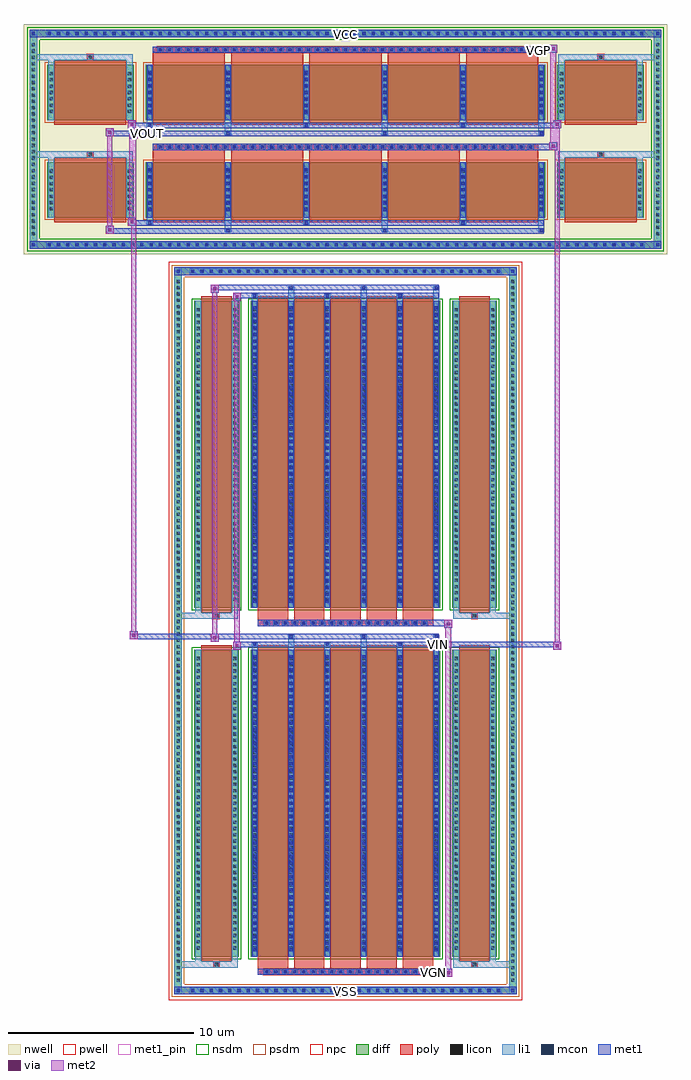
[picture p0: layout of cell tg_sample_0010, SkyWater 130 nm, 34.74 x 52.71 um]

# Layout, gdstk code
import gdstk
lib = gdstk.Library(unit=1e-6, precision=5e-09)
def R(c, l, rs):  # rectangles x0, y0, x1, y1
    for r in rs: c.add(gdstk.rectangle(r[:2], r[2:], *l))
def A(c, l, x, y, w, h, nx, ny, dx, dy):  # array of equal rectangles
    R(c, l, [(x+i*dx, y+j*dy, x+i*dx+w, y+j*dy+h) for i in range(nx) for j in range(ny)])
def P(c, l, *ps):  # polygons
    for p in ps: c.add(gdstk.Polygon(p, *l))
nwell = (64, 20)
pwell = (64, 44)
diff = (65, 20)
poly = (66, 20)
licon = (66, 44)
li1 = (67, 20)
mcon = (67, 44)
met1_pin = (68, 16)
met1 = (68, 20)
via = (68, 44)
met2 = (69, 20)
nsdm = (93, 44)
psdm = (94, 20)
npc = (95, 20)

tg_sample_0010 = lib.new_cell('tg_sample_0010')
R(tg_sample_0010, nwell, [(-17.37,20.335,17.37,32.775)])
R(tg_sample_0010, pwell, [(-9.555,-19.935,9.555,19.935)])
A(tg_sample_0010, diff, -8.455, -19.625, 0.41, 0.41, 34, 2, 0.5, 38.84)
A(tg_sample_0010, diff, -9.245, -19.075, 0.41, 0.41, 1, 112, 0, 0.34)
A(tg_sample_0010, diff, 8.835, -19.075, 0.41, 0.41, 1, 112, 0, 0.34)
A(tg_sample_0010, diff, -16.205, 20.645, 0.41, 0.41, 65, 2, 0.5, 11.41)
A(tg_sample_0010, diff, -17.06, 21.25, 0.41, 0.41, 1, 31, 0, 0.34)
A(tg_sample_0010, diff, 16.65, 21.25, 0.41, 0.41, 1, 31, 0, 0.34)
R(tg_sample_0010, diff, [(-8.455,-19.625,8.455,-19.215), (-9.245,-19.075,-8.835,19.075), (8.835,-19.075,9.245,19.075), (-8.175,-17.6,-5.765,-1.02), (-5.125,-17.6,5.125,-1.02), (5.765,-17.6,8.175,-1.02), (-8.175,1.24,-5.765,17.82), (-5.125,1.24,5.125,17.82), (5.765,1.24,8.175,17.82), (-8.455,19.215,8.455,19.625), (-16.205,20.645,16.205,21.055), (-17.06,21.25,-16.65,31.86), (16.65,21.25,17.06,31.86), (-16.12,22.32,-11.44,25.31), (-10.8,22.32,10.8,25.31), (11.44,22.32,16.12,25.31), (-16.12,27.58,-11.44,30.57), (-10.8,27.58,10.8,30.57), (11.44,27.58,16.12,30.57), (-16.205,32.055,16.205,32.465)])
P(tg_sample_0010, diff, [(9.245,19.625),(-9.245,19.625),(-9.245,-19.215),(-8.835,-19.215),(-8.835,19.215),(8.835,19.215),(8.835,-19.215),(-8.835,-19.215),(-9.245,-19.215),(-9.245,-19.625),(9.245,-19.625)],
  [(17.06,20.645),(-17.06,20.645),(-17.06,32.055),(-16.65,32.055),(-16.65,21.055),(16.65,21.055),(16.65,32.055),(-16.65,32.055),(-17.06,32.055),(-17.06,32.465),(17.06,32.465)])
A(tg_sample_0010, poly, -4.415, -18.58, 0.33, 0.33, 18, 2, 0.5, 18.84)
A(tg_sample_0010, poly, -4.735, -18.25, 1.63, 0.4, 5, 2, 1.96, 18.84)
A(tg_sample_0010, poly, -4.735, -17.85, 1.63, 17.08, 5, 2, 1.96, 18.84)
A(tg_sample_0010, poly, -10.41, 22.07, 3.9, 3.49, 5, 2, 4.23, 5.26)
A(tg_sample_0010, poly, -10.41, 25.56, 3.9, 0.405, 5, 2, 4.23, 5.26)
A(tg_sample_0010, poly, -10.165, 25.965, 0.33, 0.33, 41, 2, 0.5, 5.26)
R(tg_sample_0010, poly, [(-4.735,-18.58,4.735,-18.25), (-7.135,-18.18,-6.805,-17.85), (-7.135,-18.18,-6.805,-17.85), (6.805,-18.18,7.135,-17.85), (6.805,-18.18,7.135,-17.85), (-7.785,-17.85,-6.155,-0.77), (6.155,-17.85,7.785,-0.77), (-4.735,0.26,4.735,0.59), (-7.135,0.66,-6.805,0.99), (-7.135,0.66,-6.805,0.99), (6.805,0.66,7.135,0.99), (6.805,0.66,7.135,0.99), (-7.785,0.99,-6.155,18.07), (6.155,0.99,7.785,18.07), (-15.73,22.07,-11.83,25.56), (11.83,22.07,15.73,25.56), (-13.945,25.56,-13.615,25.89), (-13.945,25.56,-13.615,25.89), (13.615,25.56,13.945,25.89), (13.615,25.56,13.945,25.89), (-10.41,25.965,10.41,26.295), (-15.73,27.33,-11.83,30.82), (11.83,27.33,15.73,30.82), (-13.945,30.82,-13.615,31.15), (-13.945,30.82,-13.615,31.15), (13.615,30.82,13.945,31.15), (13.615,30.82,13.945,31.15), (-10.41,31.225,10.41,31.555)])
A(tg_sample_0010, licon, -8.335, -19.505, 0.17, 0.17, 34, 2, 0.5, 38.84)
A(tg_sample_0010, licon, -9.125, -18.955, 0.17, 0.17, 1, 112, 0, 0.34)
A(tg_sample_0010, licon, 8.955, -18.955, 0.17, 0.17, 1, 112, 0, 0.34)
A(tg_sample_0010, licon, -4.335, -18.5, 0.17, 0.17, 18, 2, 0.5, 18.84)
A(tg_sample_0010, licon, -8.035, -17.215, 0.17, 0.17, 1, 47, 0, 0.34)
A(tg_sample_0010, licon, -6.075, -17.215, 0.17, 0.17, 1, 47, 0, 0.34)
A(tg_sample_0010, licon, -4.985, -17.215, 0.17, 0.17, 6, 47, 1.96, 0.34)
A(tg_sample_0010, licon, 5.905, -17.215, 0.17, 0.17, 1, 47, 0, 0.34)
A(tg_sample_0010, licon, 7.865, -17.215, 0.17, 0.17, 1, 47, 0, 0.34)
A(tg_sample_0010, licon, -8.035, 1.625, 0.17, 0.17, 1, 47, 0, 0.34)
A(tg_sample_0010, licon, -6.075, 1.625, 0.17, 0.17, 1, 47, 0, 0.34)
A(tg_sample_0010, licon, -4.985, 1.625, 0.17, 0.17, 6, 47, 1.96, 0.34)
A(tg_sample_0010, licon, 5.905, 1.625, 0.17, 0.17, 1, 47, 0, 0.34)
A(tg_sample_0010, licon, 7.865, 1.625, 0.17, 0.17, 1, 47, 0, 0.34)
A(tg_sample_0010, licon, -16.085, 20.765, 0.17, 0.17, 65, 2, 0.5, 11.41)
A(tg_sample_0010, licon, -16.94, 21.37, 0.17, 0.17, 1, 31, 0, 0.34)
A(tg_sample_0010, licon, 16.77, 21.37, 0.17, 0.17, 1, 31, 0, 0.34)
A(tg_sample_0010, licon, -15.98, 22.71, 0.17, 0.17, 1, 7, 0, 0.34)
A(tg_sample_0010, licon, -11.75, 22.71, 0.17, 0.17, 1, 7, 0, 0.34)
A(tg_sample_0010, licon, -10.66, 22.71, 0.17, 0.17, 6, 7, 4.23, 0.34)
A(tg_sample_0010, licon, 11.58, 22.71, 0.17, 0.17, 1, 7, 0, 0.34)
A(tg_sample_0010, licon, 15.81, 22.71, 0.17, 0.17, 1, 7, 0, 0.34)
A(tg_sample_0010, licon, -10.085, 26.045, 0.17, 0.17, 41, 2, 0.5, 5.26)
A(tg_sample_0010, licon, -15.98, 27.97, 0.17, 0.17, 1, 7, 0, 0.34)
A(tg_sample_0010, licon, -11.75, 27.97, 0.17, 0.17, 1, 7, 0, 0.34)
A(tg_sample_0010, licon, -10.66, 27.97, 0.17, 0.17, 6, 7, 4.23, 0.34)
A(tg_sample_0010, licon, 11.58, 27.97, 0.17, 0.17, 1, 7, 0, 0.34)
A(tg_sample_0010, licon, 15.81, 27.97, 0.17, 0.17, 1, 7, 0, 0.34)
R(tg_sample_0010, licon, [(-7.055,-18.1,-6.885,-17.93), (6.885,-18.1,7.055,-17.93), (-7.055,0.74,-6.885,0.91), (6.885,0.74,7.055,0.91), (-13.865,25.64,-13.695,25.81), (13.695,25.64,13.865,25.81), (-13.865,30.9,-13.695,31.07), (13.695,30.9,13.865,31.07)])
A(tg_sample_0010, li1, -8.415, -19.585, 0.33, 0.33, 34, 2, 0.5, 38.84)
A(tg_sample_0010, li1, -9.205, -19.035, 0.33, 0.33, 1, 112, 0, 0.34)
A(tg_sample_0010, li1, 8.875, -19.035, 0.33, 0.33, 1, 112, 0, 0.34)
A(tg_sample_0010, li1, -4.415, -18.58, 0.33, 0.33, 18, 2, 0.5, 18.84)
A(tg_sample_0010, li1, -5.065, -17.6, 0.33, 16.58, 6, 2, 1.96, 18.84)
A(tg_sample_0010, li1, -4.985, -17.315, 0.17, 0.17, 6, 45, 1.96, 0.36)
A(tg_sample_0010, li1, -4.985, -17.315, 0.17, 16.01, 6, 2, 1.96, 18.84)
A(tg_sample_0010, li1, -8.115, -17.295, 0.33, 0.33, 1, 47, 0, 0.34)
A(tg_sample_0010, li1, -6.155, -17.295, 0.33, 0.33, 1, 47, 0, 0.34)
A(tg_sample_0010, li1, -5.065, -17.295, 0.33, 0.33, 6, 47, 1.96, 0.34)
A(tg_sample_0010, li1, 5.825, -17.295, 0.33, 0.33, 1, 47, 0, 0.34)
A(tg_sample_0010, li1, 7.785, -17.295, 0.33, 0.33, 1, 47, 0, 0.34)
A(tg_sample_0010, li1, -5.065, -1.02, 0.33, 0.375, 3, 2, 3.92, 18.84)
A(tg_sample_0010, li1, -3.105, -1.02, 0.33, 0.805, 3, 2, 3.92, 18.84)
A(tg_sample_0010, li1, -4.985, -0.815, 0.17, 0.17, 3, 2, 3.92, 18.84)
A(tg_sample_0010, li1, -3.025, -0.385, 0.17, 0.17, 3, 2, 3.92, 18.84)
A(tg_sample_0010, li1, -4.985, 1.525, 0.17, 0.17, 6, 45, 1.96, 0.36)
A(tg_sample_0010, li1, -8.115, 1.545, 0.33, 0.33, 1, 47, 0, 0.34)
A(tg_sample_0010, li1, -6.155, 1.545, 0.33, 0.33, 1, 47, 0, 0.34)
A(tg_sample_0010, li1, -5.065, 1.545, 0.33, 0.33, 6, 47, 1.96, 0.34)
A(tg_sample_0010, li1, 5.825, 1.545, 0.33, 0.33, 1, 47, 0, 0.34)
A(tg_sample_0010, li1, 7.785, 1.545, 0.33, 0.33, 1, 47, 0, 0.34)
A(tg_sample_0010, li1, -16.165, 20.685, 0.33, 0.33, 65, 2, 0.5, 11.41)
A(tg_sample_0010, li1, -17.02, 21.29, 0.33, 0.33, 1, 31, 0, 0.34)
A(tg_sample_0010, li1, 16.69, 21.29, 0.33, 0.33, 1, 31, 0, 0.34)
A(tg_sample_0010, li1, -6.51, 21.515, 0.33, 0.805, 3, 2, 8.46, 5.26)
A(tg_sample_0010, li1, -6.43, 21.515, 0.17, 0.17, 3, 2, 8.46, 5.26)
A(tg_sample_0010, li1, -10.74, 21.945, 0.33, 0.375, 3, 2, 8.46, 5.26)
A(tg_sample_0010, li1, -10.66, 21.945, 0.17, 0.17, 3, 2, 8.46, 5.26)
A(tg_sample_0010, li1, -10.74, 22.32, 0.33, 2.99, 6, 2, 4.23, 5.26)
A(tg_sample_0010, li1, -16.06, 22.63, 0.33, 0.33, 1, 7, 0, 0.34)
A(tg_sample_0010, li1, -11.83, 22.63, 0.33, 0.33, 1, 7, 0, 0.34)
A(tg_sample_0010, li1, -10.74, 22.63, 0.33, 0.33, 6, 7, 4.23, 0.34)
A(tg_sample_0010, li1, 11.5, 22.63, 0.33, 0.33, 1, 7, 0, 0.34)
A(tg_sample_0010, li1, 15.73, 22.63, 0.33, 0.33, 1, 7, 0, 0.34)
A(tg_sample_0010, li1, -10.66, 22.65, 0.17, 0.17, 6, 7, 4.23, 0.36)
A(tg_sample_0010, li1, -10.66, 22.65, 0.17, 2.33, 6, 2, 4.23, 5.26)
A(tg_sample_0010, li1, -10.165, 25.965, 0.33, 0.33, 41, 2, 0.5, 5.26)
A(tg_sample_0010, li1, -16.06, 27.89, 0.33, 0.33, 1, 7, 0, 0.34)
A(tg_sample_0010, li1, -11.83, 27.89, 0.33, 0.33, 1, 7, 0, 0.34)
A(tg_sample_0010, li1, -10.74, 27.89, 0.33, 0.33, 6, 7, 4.23, 0.34)
A(tg_sample_0010, li1, 11.5, 27.89, 0.33, 0.33, 1, 7, 0, 0.34)
A(tg_sample_0010, li1, 15.73, 27.89, 0.33, 0.33, 1, 7, 0, 0.34)
A(tg_sample_0010, li1, -10.66, 27.91, 0.17, 0.17, 6, 7, 4.23, 0.36)
R(tg_sample_0010, li1, [(-9.245,-19.625,-8.835,-19.215), (8.835,-19.625,9.245,-19.215), (-8.415,-19.585,8.415,-19.255), (-9.125,-19.505,-8.955,-19.335), (-9.125,-19.505,-8.955,-19.335), (8.955,-19.505,9.125,-19.335), (8.955,-19.505,9.125,-19.335), (-9.245,-19.215,-8.835,19.215), (8.835,-19.215,9.245,19.215), (-9.245,-18.18,-7.135,-17.85), (-8.115,-18.18,-7.135,-17.85), (-8.115,-18.18,-7.785,-17.6), (-7.135,-18.18,-6.805,-17.85), (-6.805,-18.18,-5.825,-17.85), (-6.155,-18.18,-5.825,-17.6), (5.825,-18.18,6.805,-17.85), (5.825,-18.18,6.155,-17.6), (6.805,-18.18,7.135,-17.85), (6.805,-18.18,9.245,-17.85), (7.135,-18.18,8.115,-17.85), (7.785,-18.18,8.115,-17.6), (-8.115,-17.6,-7.785,-1.02), (-6.155,-17.6,-5.825,-1.02), (5.825,-17.6,6.155,-1.02), (7.785,-17.6,8.115,-1.02), (-9.245,0.66,-7.135,0.99), (-8.115,0.66,-7.135,0.99), (-8.115,0.66,-7.785,1.24), (-7.135,0.66,-6.805,0.99), (-6.805,0.66,-5.825,0.99), (-6.155,0.66,-5.825,1.24), (5.825,0.66,6.805,0.99), (5.825,0.66,6.155,1.24), (6.805,0.66,7.135,0.99), (6.805,0.66,9.245,0.99), (7.135,0.66,8.115,0.99), (7.785,0.66,8.115,1.24), (-8.115,1.24,-7.785,17.82), (-6.155,1.24,-5.825,17.82), (5.825,1.24,6.155,17.82), (7.785,1.24,8.115,17.82), (-9.245,19.215,-8.835,19.625), (8.835,19.215,9.245,19.625), (-8.415,19.255,8.415,19.585), (-9.125,19.335,-8.955,19.505), (-9.125,19.335,-8.955,19.505), (8.955,19.335,9.125,19.505), (8.955,19.335,9.125,19.505), (-17.06,20.645,-16.65,21.055), (16.65,20.645,17.06,21.055), (-16.165,20.685,16.165,21.015), (-16.94,20.765,-16.77,20.935), (-16.94,20.765,-16.77,20.935), (16.77,20.765,16.94,20.935), (16.77,20.765,16.94,20.935), (-17.06,21.055,-16.65,32.055), (16.65,21.055,17.06,32.055), (-16.06,22.32,-15.73,25.31), (-11.83,22.32,-11.5,25.31), (11.5,22.32,11.83,25.31), (15.73,22.32,16.06,25.31), (-16.06,25.31,-15.73,25.89), (-11.83,25.31,-11.5,25.89), (11.5,25.31,11.83,25.89), (15.73,25.31,16.06,25.89), (-17.06,25.56,-13.945,25.89), (-16.06,25.56,-13.945,25.89), (-13.945,25.56,-13.615,25.89), (-13.615,25.56,-11.5,25.89), (11.5,25.56,13.615,25.89), (13.615,25.56,13.945,25.89), (13.615,25.56,17.06,25.89), (13.945,25.56,16.06,25.89), (-16.06,27.58,-15.73,30.57), (-11.83,27.58,-11.5,30.57), (11.5,27.58,11.83,30.57), (15.73,27.58,16.06,30.57), (-16.06,30.57,-15.73,31.15), (-11.83,30.57,-11.5,31.15), (11.5,30.57,11.83,31.15), (15.73,30.57,16.06,31.15), (-17.06,30.82,-13.945,31.15), (-16.06,30.82,-13.945,31.15), (-13.945,30.82,-13.615,31.15), (-13.615,30.82,-11.5,31.15), (11.5,30.82,13.615,31.15), (13.615,30.82,13.945,31.15), (13.615,30.82,17.06,31.15), (13.945,30.82,16.06,31.15), (-17.06,32.055,-16.65,32.465), (16.65,32.055,17.06,32.465), (-16.165,32.095,16.165,32.425), (-16.94,32.175,-16.77,32.345), (-16.94,32.175,-16.77,32.345), (16.77,32.175,16.94,32.345), (16.77,32.175,16.94,32.345)])
A(tg_sample_0010, mcon, -8.335, -19.505, 0.17, 0.17, 34, 2, 0.5, 38.84)
A(tg_sample_0010, mcon, -4.335, -18.5, 0.17, 0.17, 18, 2, 0.5, 18.84)
A(tg_sample_0010, mcon, -4.985, -17.315, 0.17, 0.17, 6, 45, 1.96, 0.36)
A(tg_sample_0010, mcon, -4.985, -0.815, 0.17, 0.17, 3, 2, 3.92, 18.84)
A(tg_sample_0010, mcon, -3.025, -0.385, 0.17, 0.17, 3, 2, 3.92, 18.84)
A(tg_sample_0010, mcon, -4.985, 1.525, 0.17, 0.17, 6, 45, 1.96, 0.36)
A(tg_sample_0010, mcon, -16.085, 20.765, 0.17, 0.17, 65, 2, 0.5, 11.41)
A(tg_sample_0010, mcon, -6.43, 21.515, 0.17, 0.17, 3, 2, 8.46, 5.26)
A(tg_sample_0010, mcon, -10.66, 21.945, 0.17, 0.17, 3, 2, 8.46, 5.26)
A(tg_sample_0010, mcon, -10.66, 22.65, 0.17, 0.17, 6, 7, 4.23, 0.36)
A(tg_sample_0010, mcon, -10.085, 26.045, 0.17, 0.17, 41, 2, 0.5, 5.26)
A(tg_sample_0010, mcon, -10.66, 27.91, 0.17, 0.17, 6, 7, 4.23, 0.36)
R(tg_sample_0010, mcon, [(-9.125,-19.505,-8.955,-19.335), (8.955,-19.505,9.125,-19.335), (-9.125,19.335,-8.955,19.505), (8.955,19.335,9.125,19.505), (-16.94,20.765,-16.77,20.935), (16.77,20.765,16.94,20.935), (-16.94,32.175,-16.77,32.345), (16.77,32.175,16.94,32.345)])
R(tg_sample_0010, met1_pin, [(-0.25,-19.715,0.25,-19.215), (4.6,-18.58,4.87,-18.31), (4.91,-0.875,5.18,-0.605), (-10.855,26.715,-10.585,26.985), (10.275,31.225,10.545,31.495), (-0.25,31.965,0.25,32.465)])
A(tg_sample_0010, met1, -8.395, -19.565, 0.29, 0.29, 34, 2, 0.5, 38.84)
A(tg_sample_0010, met1, -4.395, -18.56, 0.29, 0.29, 18, 2, 0.5, 18.84)
A(tg_sample_0010, met1, -5.045, -17.6, 0.29, 16.58, 6, 2, 1.96, 18.84)
A(tg_sample_0010, met1, -5.045, -17.375, 0.29, 0.29, 6, 45, 1.96, 0.36)
A(tg_sample_0010, met1, -5.045, -0.875, 0.29, 0.29, 3, 2, 3.92, 18.84)
A(tg_sample_0010, met1, -3.085, -0.445, 0.29, 0.29, 3, 2, 3.92, 18.84)
A(tg_sample_0010, met1, -5.045, 1.465, 0.29, 0.29, 6, 45, 1.96, 0.36)
A(tg_sample_0010, met1, -16.145, 20.705, 0.29, 0.29, 65, 2, 0.5, 11.41)
A(tg_sample_0010, met1, -6.49, 21.455, 0.29, 0.29, 3, 2, 8.46, 5.26)
A(tg_sample_0010, met1, -10.72, 21.885, 0.29, 0.29, 3, 2, 8.46, 5.26)
A(tg_sample_0010, met1, -10.72, 22.32, 0.29, 2.99, 6, 2, 4.23, 5.26)
A(tg_sample_0010, met1, -10.72, 22.59, 0.29, 0.29, 6, 7, 4.23, 0.36)
A(tg_sample_0010, met1, -10.145, 25.985, 0.29, 0.29, 41, 2, 0.5, 5.26)
A(tg_sample_0010, met1, -10.72, 27.85, 0.29, 0.29, 6, 7, 4.23, 0.36)
R(tg_sample_0010, met1, [(-9.245,-19.625,-8.835,-19.215), (-9.245,-19.625,-8.835,-19.215), (-8.835,-19.625,8.835,-19.215), (8.835,-19.625,9.245,-19.215), (8.835,-19.625,9.245,-19.215), (-9.185,-19.565,-8.895,-19.275), (8.895,-19.565,9.185,-19.275), (5.335,-18.68,5.765,-18.25), (-4.735,-18.58,4.735,-18.25), (4.735,-18.58,5.765,-18.25), (-6.075,-1.015,-5.645,-0.585), (11.22,-1.015,11.65,-0.585), (-6.075,-0.875,-5.045,-0.585), (-5.045,-0.875,5.045,-0.585), (5.045,-0.875,11.65,-0.585), (-7.275,-0.585,-6.845,-0.155), (-11.65,-0.445,-11.22,-0.015), (-11.65,-0.445,-5.045,-0.155), (-7.275,-0.445,-5.045,-0.155), (-5.045,-0.445,5.045,-0.155), (5.335,0.16,5.765,0.59), (-4.735,0.26,4.735,0.59), (4.735,0.26,5.765,0.59), (-6.075,17.825,-5.645,18.255), (-6.075,17.965,-5.045,18.255), (-5.045,17.965,5.045,18.255), (-7.275,18.255,-6.845,18.685), (-7.275,18.395,-5.045,18.685), (-5.045,18.395,5.045,18.685), (-9.245,19.215,-8.835,19.625), (-9.245,19.215,-8.835,19.625), (-8.835,19.215,8.835,19.625), (8.835,19.215,9.245,19.625), (8.835,19.215,9.245,19.625), (-9.185,19.275,-8.895,19.565), (8.895,19.275,9.185,19.565), (-17.06,20.645,-16.65,21.055), (-17.06,20.645,-16.65,21.055), (-16.65,20.645,16.65,21.055), (16.65,20.645,17.06,21.055), (16.65,20.645,17.06,21.055), (-17,20.705,-16.71,20.995), (16.71,20.705,17,20.995), (-12.95,21.455,-12.52,21.885), (-12.95,21.455,-10.72,21.745), (-10.72,21.455,10.72,21.745), (-11.75,21.885,-11.32,22.315), (-11.75,21.885,-10.72,22.175), (-10.72,21.885,10.72,22.175), (-10.41,25.965,10.41,26.295), (10.41,25.965,11.44,26.295), (11.01,25.965,11.44,26.395), (-11.65,26.575,-11.22,27.005), (-12.95,26.715,-12.52,27.145), (-12.95,26.715,-10.72,27.005), (-11.65,26.715,-10.72,27.005), (-10.72,26.715,10.72,27.005), (-11.75,27.145,-11.32,27.575), (-11.75,27.145,-10.72,27.435), (-10.72,27.145,10.72,27.435), (10.72,27.145,11.65,27.435), (11.22,27.145,11.65,27.575), (-10.41,31.225,10.41,31.555), (10.41,31.225,11.44,31.555), (11.01,31.225,11.44,31.655), (-17.06,32.055,-16.65,32.465), (-17.06,32.055,-16.65,32.465), (-16.65,32.055,16.65,32.465), (16.65,32.055,17.06,32.465), (16.65,32.055,17.06,32.465), (-17,32.115,-16.71,32.405), (16.71,32.115,17,32.405)])
R(tg_sample_0010, via, [(5.475,-18.54,5.625,-18.39), (-5.935,-0.875,-5.785,-0.725), (11.36,-0.875,11.51,-0.725), (-7.135,-0.445,-6.985,-0.295), (-11.51,-0.305,-11.36,-0.155), (5.475,0.3,5.625,0.45), (-5.935,17.965,-5.785,18.115), (-7.135,18.395,-6.985,18.545), (-12.81,21.595,-12.66,21.745), (-11.61,22.025,-11.46,22.175), (11.15,26.105,11.3,26.255), (-11.51,26.715,-11.36,26.865), (-12.81,26.855,-12.66,27.005), (-11.61,27.285,-11.46,27.435), (11.36,27.285,11.51,27.435), (11.15,31.365,11.3,31.515)])
R(tg_sample_0010, met2, [(5.335,-18.68,5.765,-18.25), (5.385,-18.68,5.715,0.59), (5.715,-18.68,5.765,-18.25), (5.385,-18.63,5.715,-18.3), (-6.075,-1.015,-5.645,-0.585), (-6.005,-1.015,-5.715,18.255), (-5.715,-1.015,-5.645,-0.585), (11.22,-1.015,11.65,-0.585), (11.29,-1.015,11.58,27.575), (11.58,-1.015,11.65,-0.585), (-6.025,-0.965,-5.695,-0.635), (11.27,-0.965,11.6,-0.635), (-7.275,-0.585,-6.845,-0.155), (-7.205,-0.585,-6.915,18.685), (-6.915,-0.585,-6.845,-0.155), (-7.225,-0.535,-6.895,-0.205), (-11.65,-0.445,-11.22,-0.015), (-11.58,-0.445,-11.29,27.005), (-11.29,-0.445,-11.22,-0.015), (-11.6,-0.395,-11.27,-0.065), (5.335,0.16,5.765,0.59), (5.715,0.16,5.765,0.59), (5.385,0.21,5.715,0.54), (-6.075,17.825,-5.645,18.255), (-5.715,17.825,-5.645,18.255), (-6.025,17.875,-5.695,18.205), (-7.275,18.255,-6.845,18.685), (-6.915,18.255,-6.845,18.685), (-7.225,18.305,-6.895,18.635), (-12.95,21.455,-12.52,21.885), (-12.88,21.455,-12.59,27.145), (-12.59,21.455,-12.52,21.885), (-12.9,21.505,-12.57,21.835), (-11.75,21.885,-11.32,22.315), (-11.68,21.885,-11.39,27.575), (-11.39,21.885,-11.32,22.315), (-11.7,21.935,-11.37,22.265), (11.01,25.965,11.44,26.395), (11.06,25.965,11.39,31.655), (11.39,25.965,11.44,26.395), (11.06,26.015,11.39,26.345), (-11.65,26.575,-11.22,27.005), (-11.29,26.575,-11.22,27.005), (-11.6,26.625,-11.27,26.955), (-12.95,26.715,-12.52,27.145), (-12.59,26.715,-12.52,27.145), (-12.9,26.765,-12.57,27.095), (-11.75,27.145,-11.32,27.575), (-11.39,27.145,-11.32,27.575), (11.22,27.145,11.65,27.575), (11.58,27.145,11.65,27.575), (-11.7,27.195,-11.37,27.525), (11.27,27.195,11.6,27.525), (11.01,31.225,11.44,31.655), (11.39,31.225,11.44,31.655), (11.06,31.275,11.39,31.605)])
R(tg_sample_0010, nsdm, [(-8.305,-17.73,-5.635,-0.89), (-5.255,-17.73,5.255,-0.89), (5.635,-17.73,8.305,-0.89), (-8.305,1.11,-5.635,17.95), (-5.255,1.11,5.255,17.95), (5.635,1.11,8.305,17.95)])
P(tg_sample_0010, nsdm, [(17.19,20.515),(-17.19,20.515),(-17.19,31.925),(-16.52,31.925),(-16.52,21.185),(16.52,21.185),(16.52,31.925),(-16.52,31.925),(-17.19,31.925),(-17.19,32.595),(17.19,32.595)])
R(tg_sample_0010, psdm, [(-16.25,22.19,-11.31,25.44), (-10.93,22.19,10.93,25.44), (11.31,22.19,16.25,25.44), (-16.25,27.45,-11.31,30.7), (-10.93,27.45,10.93,30.7), (11.31,27.45,16.25,30.7)])
P(tg_sample_0010, psdm, [(9.375,19.755),(-9.375,19.755),(-9.375,-19.085),(-8.705,-19.085),(-8.705,19.085),(8.705,19.085),(8.705,-19.085),(-8.705,-19.085),(-9.375,-19.085),(-9.375,-19.755),(9.375,-19.755)])
A(tg_sample_0010, npc, -4.435, -18.6, 0.37, 0.37, 18, 2, 0.5, 18.84)
A(tg_sample_0010, npc, -10.185, 25.945, 0.37, 0.37, 41, 2, 0.5, 5.26)
R(tg_sample_0010, npc, [(-4.435,-18.6,-3.565,-18.23), (-4.435,-18.6,-3.565,-18.23), (-3.935,-18.6,-3.065,-18.23), (-3.935,-18.6,-3.065,-18.23), (-3.435,-18.6,-2.565,-18.23), (-3.435,-18.6,-2.565,-18.23), (-2.935,-18.6,-2.065,-18.23), (-2.935,-18.6,-2.065,-18.23), (-2.435,-18.6,-1.565,-18.23), (-2.435,-18.6,-1.565,-18.23), (-1.935,-18.6,-1.065,-18.23), (-1.935,-18.6,-1.065,-18.23), (-1.435,-18.6,-0.565,-18.23), (-1.435,-18.6,-0.565,-18.23), (-0.935,-18.6,-0.065,-18.23), (-0.935,-18.6,-0.065,-18.23), (-0.435,-18.6,0.435,-18.23), (-0.435,-18.6,0.435,-18.23), (0.065,-18.6,0.935,-18.23), (0.065,-18.6,0.935,-18.23), (0.565,-18.6,1.435,-18.23), (0.565,-18.6,1.435,-18.23), (1.065,-18.6,1.935,-18.23), (1.065,-18.6,1.935,-18.23), (1.565,-18.6,2.435,-18.23), (1.565,-18.6,2.435,-18.23), (2.065,-18.6,2.935,-18.23), (2.065,-18.6,2.935,-18.23), (2.565,-18.6,3.435,-18.23), (2.565,-18.6,3.435,-18.23), (3.065,-18.6,3.935,-18.23), (3.065,-18.6,3.935,-18.23), (3.565,-18.6,4.435,-18.23), (3.565,-18.6,4.435,-18.23), (-7.155,-18.2,-6.785,-17.83), (6.785,-18.2,7.155,-17.83), (-4.435,0.24,-3.565,0.61), (-4.435,0.24,-3.565,0.61), (-3.935,0.24,-3.065,0.61), (-3.935,0.24,-3.065,0.61), (-3.435,0.24,-2.565,0.61), (-3.435,0.24,-2.565,0.61), (-2.935,0.24,-2.065,0.61), (-2.935,0.24,-2.065,0.61), (-2.435,0.24,-1.565,0.61), (-2.435,0.24,-1.565,0.61), (-1.935,0.24,-1.065,0.61), (-1.935,0.24,-1.065,0.61), (-1.435,0.24,-0.565,0.61), (-1.435,0.24,-0.565,0.61), (-0.935,0.24,-0.065,0.61), (-0.935,0.24,-0.065,0.61), (-0.435,0.24,0.435,0.61), (-0.435,0.24,0.435,0.61), (0.065,0.24,0.935,0.61), (0.065,0.24,0.935,0.61), (0.565,0.24,1.435,0.61), (0.565,0.24,1.435,0.61), (1.065,0.24,1.935,0.61), (1.065,0.24,1.935,0.61), (1.565,0.24,2.435,0.61), (1.565,0.24,2.435,0.61), (2.065,0.24,2.935,0.61), (2.065,0.24,2.935,0.61), (2.565,0.24,3.435,0.61), (2.565,0.24,3.435,0.61), (3.065,0.24,3.935,0.61), (3.065,0.24,3.935,0.61), (3.565,0.24,4.435,0.61), (3.565,0.24,4.435,0.61), (-7.155,0.64,-6.785,1.01), (6.785,0.64,7.155,1.01), (-13.965,25.54,-13.595,25.91), (13.595,25.54,13.965,25.91), (-10.185,25.945,-9.315,26.315), (-10.185,25.945,-9.315,26.315), (-9.685,25.945,-8.815,26.315), (-9.685,25.945,-8.815,26.315), (-9.185,25.945,-8.315,26.315), (-9.185,25.945,-8.315,26.315), (-8.685,25.945,-7.815,26.315), (-8.685,25.945,-7.815,26.315), (-8.185,25.945,-7.315,26.315), (-8.185,25.945,-7.315,26.315), (-7.685,25.945,-6.815,26.315), (-7.685,25.945,-6.815,26.315), (-7.185,25.945,-6.315,26.315), (-7.185,25.945,-6.315,26.315), (-6.685,25.945,-5.815,26.315), (-6.685,25.945,-5.815,26.315), (-6.185,25.945,-5.315,26.315), (-6.185,25.945,-5.315,26.315), (-5.685,25.945,-4.815,26.315), (-5.685,25.945,-4.815,26.315), (-5.185,25.945,-4.315,26.315), (-5.185,25.945,-4.315,26.315), (-4.685,25.945,-3.815,26.315), (-4.685,25.945,-3.815,26.315), (-4.185,25.945,-3.315,26.315), (-4.185,25.945,-3.315,26.315), (-3.685,25.945,-2.815,26.315), (-3.685,25.945,-2.815,26.315), (-3.185,25.945,-2.315,26.315), (-3.185,25.945,-2.315,26.315), (-2.685,25.945,-1.815,26.315), (-2.685,25.945,-1.815,26.315), (-2.185,25.945,-1.315,26.315), (-2.185,25.945,-1.315,26.315), (-1.685,25.945,-0.815,26.315), (-1.685,25.945,-0.815,26.315), (-1.185,25.945,-0.315,26.315), (-1.185,25.945,-0.315,26.315), (-0.685,25.945,0.185,26.315), (-0.685,25.945,0.185,26.315), (-0.185,25.945,0.685,26.315), (-0.185,25.945,0.685,26.315), (0.315,25.945,1.185,26.315), (0.315,25.945,1.185,26.315), (0.815,25.945,1.685,26.315), (0.815,25.945,1.685,26.315), (1.315,25.945,2.185,26.315), (1.315,25.945,2.185,26.315), (1.815,25.945,2.685,26.315), (1.815,25.945,2.685,26.315), (2.315,25.945,3.185,26.315), (2.315,25.945,3.185,26.315), (2.815,25.945,3.685,26.315), (2.815,25.945,3.685,26.315), (3.315,25.945,4.185,26.315), (3.315,25.945,4.185,26.315), (3.815,25.945,4.685,26.315), (3.815,25.945,4.685,26.315), (4.315,25.945,5.185,26.315), (4.315,25.945,5.185,26.315), (4.815,25.945,5.685,26.315), (4.815,25.945,5.685,26.315), (5.315,25.945,6.185,26.315), (5.315,25.945,6.185,26.315), (5.815,25.945,6.685,26.315), (5.815,25.945,6.685,26.315), (6.315,25.945,7.185,26.315), (6.315,25.945,7.185,26.315), (6.815,25.945,7.685,26.315), (6.815,25.945,7.685,26.315), (7.315,25.945,8.185,26.315), (7.315,25.945,8.185,26.315), (7.815,25.945,8.685,26.315), (7.815,25.945,8.685,26.315), (8.315,25.945,9.185,26.315), (8.315,25.945,9.185,26.315), (8.815,25.945,9.685,26.315), (8.815,25.945,9.685,26.315), (9.315,25.945,10.185,26.315), (9.315,25.945,10.185,26.315), (-13.965,30.8,-13.595,31.17), (13.595,30.8,13.965,31.17), (-10.185,31.205,-9.315,31.575), (-10.185,31.205,-9.315,31.575), (-9.685,31.205,-8.815,31.575), (-9.685,31.205,-8.815,31.575), (-9.185,31.205,-8.315,31.575), (-9.185,31.205,-8.315,31.575), (-8.685,31.205,-7.815,31.575), (-8.685,31.205,-7.815,31.575), (-8.185,31.205,-7.315,31.575), (-8.185,31.205,-7.315,31.575), (-7.685,31.205,-6.815,31.575), (-7.685,31.205,-6.815,31.575), (-7.185,31.205,-6.315,31.575), (-7.185,31.205,-6.315,31.575), (-6.685,31.205,-5.815,31.575), (-6.685,31.205,-5.815,31.575), (-6.185,31.205,-5.315,31.575), (-6.185,31.205,-5.315,31.575), (-5.685,31.205,-4.815,31.575), (-5.685,31.205,-4.815,31.575), (-5.185,31.205,-4.315,31.575), (-5.185,31.205,-4.315,31.575), (-4.685,31.205,-3.815,31.575), (-4.685,31.205,-3.815,31.575), (-4.185,31.205,-3.315,31.575), (-4.185,31.205,-3.315,31.575), (-3.685,31.205,-2.815,31.575), (-3.685,31.205,-2.815,31.575), (-3.185,31.205,-2.315,31.575), (-3.185,31.205,-2.315,31.575), (-2.685,31.205,-1.815,31.575), (-2.685,31.205,-1.815,31.575), (-2.185,31.205,-1.315,31.575), (-2.185,31.205,-1.315,31.575), (-1.685,31.205,-0.815,31.575), (-1.685,31.205,-0.815,31.575), (-1.185,31.205,-0.315,31.575), (-1.185,31.205,-0.315,31.575), (-0.685,31.205,0.185,31.575), (-0.685,31.205,0.185,31.575), (-0.185,31.205,0.685,31.575), (-0.185,31.205,0.685,31.575), (0.315,31.205,1.185,31.575), (0.315,31.205,1.185,31.575), (0.815,31.205,1.685,31.575), (0.815,31.205,1.685,31.575), (1.315,31.205,2.185,31.575), (1.315,31.205,2.185,31.575), (1.815,31.205,2.685,31.575), (1.815,31.205,2.685,31.575), (2.315,31.205,3.185,31.575), (2.315,31.205,3.185,31.575), (2.815,31.205,3.685,31.575), (2.815,31.205,3.685,31.575), (3.315,31.205,4.185,31.575), (3.315,31.205,4.185,31.575), (3.815,31.205,4.685,31.575), (3.815,31.205,4.685,31.575), (4.315,31.205,5.185,31.575), (4.315,31.205,5.185,31.575), (4.815,31.205,5.685,31.575), (4.815,31.205,5.685,31.575), (5.315,31.205,6.185,31.575), (5.315,31.205,6.185,31.575), (5.815,31.205,6.685,31.575), (5.815,31.205,6.685,31.575), (6.315,31.205,7.185,31.575), (6.315,31.205,7.185,31.575), (6.815,31.205,7.685,31.575), (6.815,31.205,7.685,31.575), (7.315,31.205,8.185,31.575), (7.315,31.205,8.185,31.575), (7.815,31.205,8.685,31.575), (7.815,31.205,8.685,31.575), (8.315,31.205,9.185,31.575), (8.315,31.205,9.185,31.575), (8.815,31.205,9.685,31.575), (8.815,31.205,9.685,31.575), (9.315,31.205,10.185,31.575), (9.315,31.205,10.185,31.575)])
tg_sample_0010.add(gdstk.Label('VIN', (5.045,-0.74), layer=68, texttype=5))
tg_sample_0010.add(gdstk.Label('VGN', (4.735,-18.445), layer=68, texttype=5))
tg_sample_0010.add(gdstk.Label('VGP', (10.41,31.36), layer=68, texttype=5))
tg_sample_0010.add(gdstk.Label('VSS', (0,-19.465), layer=68, texttype=5))
tg_sample_0010.add(gdstk.Label('VCC', (0,32.215), layer=68, texttype=5))
tg_sample_0010.add(gdstk.Label('VOUT', (-10.72,26.85), layer=68, texttype=5))

lib.write_gds('tg_sample_0010.gds')
